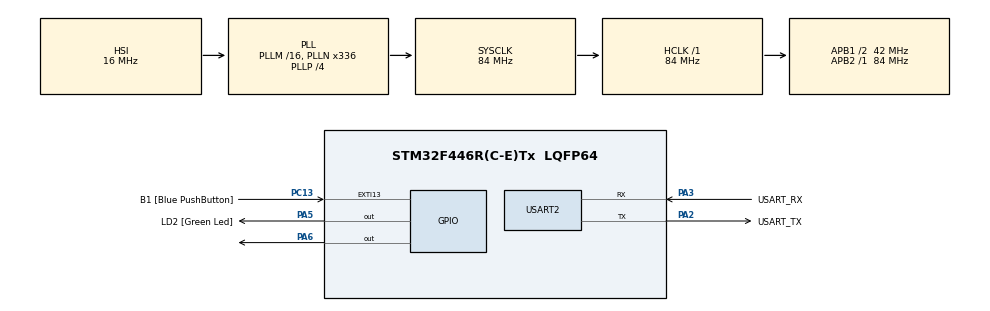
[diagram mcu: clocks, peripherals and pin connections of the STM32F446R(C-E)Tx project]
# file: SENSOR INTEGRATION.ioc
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FREERTOS.Tasks01=defaultTask,24,128,StartDefaultTask,Default,NULL,Dynamic,NULL,NULL;SensorTask,8,128,Sensor_Task,Default,NULL,Dynamic,NULL,NULL;UARTTask,8,128,UARTTask_init,Default,NULL,Dynamic,NULL,NULL;LEDTask,8,128,LEDTask_init,Default,NULL,Dynamic,NULL,NULL
Mcu.Family=STM32F4
Mcu.Name=STM32F446R(C-E)Tx
Mcu.Package=LQFP64
NVIC.PriorityGroup=NVIC_PRIORITYGROUP_4
NVIC.TIM2_IRQn=true\:15\:0\:false\:false\:true\:false\:false\:true\:true
NVIC.TimeBase=TIM2_IRQn
NVIC.TimeBaseIP=TIM2
NVIC.USART2_IRQn=true\:5\:0\:false\:false\:true\:true\:true\:true\:true
PA13.GPIO_Label=TMS
PA13.Signal=SYS_JTMS-SWDIO
PA14.GPIO_Label=TCK
PA14.Signal=SYS_JTCK-SWCLK
PA2.GPIO_Label=USART_TX
PA2.Mode=Asynchronous
PA2.Signal=USART2_TX
PA3.GPIO_Label=USART_RX
PA3.Mode=Asynchronous
PA3.Signal=USART2_RX
PA5.GPIO_Label=LD2 [Green Led]
PA5.Signal=GPIO_Output
PA6.Signal=GPIO_Output
PB3.GPIO_Label=SWO
PB3.Signal=SYS_JTDO-SWO
PC13.GPIO_Label=B1 [Blue PushButton]
PC13.GPIO_ModeDefaultEXTI=GPIO_MODE_IT_FALLING
PC13.Signal=GPXTI13
PC14-OSC32_IN.Mode=LSE-External-Oscillator
PC14-OSC32_IN.Signal=RCC_OSC32_IN
PC15-OSC32_OUT.Mode=LSE-External-Oscillator
PC15-OSC32_OUT.Signal=RCC_OSC32_OUT
PH0-OSC_IN.Mode=HSE-External-Oscillator
PH0-OSC_IN.Signal=RCC_OSC_IN
PH1-OSC_OUT.Mode=HSE-External-Oscillator
PH1-OSC_OUT.Signal=RCC_OSC_OUT
ProjectManager.HeapSize=0x200
ProjectManager.StackSize=0x400
ProjectManager.TargetToolchain=STM32CubeIDE
RCC.48MHZClocksFreq_Value=84000000
RCC.AHBFreq_Value=84000000
RCC.APB1CLKDivider=RCC_HCLK_DIV2
RCC.APB1Freq_Value=42000000
RCC.APB1TimFreq_Value=84000000
RCC.APB2Freq_Value=84000000
RCC.APB2TimFreq_Value=84000000
RCC.CortexFreq_Value=84000000
RCC.FLatency-AdvancedSettings=FLASH_LATENCY_2
RCC.HCLKFreq_Value=84000000
RCC.HSE_VALUE=8000000
RCC.HSI_VALUE=16000000
RCC.PLLN=336
RCC.PLLP=RCC_PLLP_DIV4
RCC.SYSCLKFreq_VALUE=84000000
RCC.SYSCLKSource=RCC_SYSCLKSOURCE_PLLCLK
RCC.USBFreq_Value=168000000
RCC.VCOOutputFreq_Value=336000000
USART2.VirtualMode=VM_ASYNC
VP_FREERTOS_VS_CMSIS_V2.Mode=CMSIS_V2
VP_SYS_VS_tim2.Mode=TIM2
board=NUCLEO-F446RE

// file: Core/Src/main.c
/* USER CODE BEGIN Header */
/**
  ******************************************************************************
  * @file           : main.c
  * @brief          : Main program body
  ******************************************************************************
  * @attention
  *
  * Copyright (c) 2024 STMicroelectronics.
  * All rights reserved.
  *
  * This software is licensed under terms that can be found in the LICENSE file
  * in the root directory of this software component.
  * If no LICENSE file comes with this software, it is provided AS-IS.
  *
  ******************************************************************************
  */
/* USER CODE END Header */
#include "main.h"
#include "cmsis_os.h"
#include "cmsis_os2.h"

UART_HandleTypeDef huart2;

/* Definitions for defaultTask */
osThreadId_t defaultTaskHandle;
const osThreadAttr_t defaultTask_attributes = {
  .name = "defaultTask",
  .stack_size = 128 * 4,
  .priority = (osPriority_t) osPriorityNormal,
};
/* Definitions for SensorTask */
osThreadId_t SensorTaskHandle;
const osThreadAttr_t SensorTask_attributes = {
  .name = "SensorTask",
  .stack_size = 128 * 4,
  .priority = (osPriority_t) osPriorityNormal,
};
/* Definitions for UARTTask */
osThreadId_t UARTTaskHandle;
const osThreadAttr_t UARTTask_attributes = {
  .name = "UARTTask",
  .stack_size = 128 * 4,
  .priority = (osPriority_t) osPriorityNormal,
};
/* Definitions for LEDTask */
osThreadId_t LEDTaskHandle;
const osThreadAttr_t LEDTask_attributes = {
  .name = "LEDTask",
  .stack_size = 128 * 4,
  .priority = (osPriority_t) osPriorityLow,
};

void SystemClock_Config(void);
static void MX_GPIO_Init(void);
static void MX_USART2_UART_Init(void);
void StartDefaultTask(void *argument);
void Sensor_Task(void *argument);
void UARTTask_init(void *argument);
void LEDTask_init(void *argument);

/* USER CODE BEGIN 0 */
void i2c(uint8_t a,uint8_t *p){
	uint8_t n[2] = {0x6b,0};
	uint8_t m[2] = {0x1c,0};
	uint8_t u = 0x3b;
	init3(0x68);
	write(a,n,2);
	write(a,m,2);
	write(a,u,1);
	read(a,p, 6);

}
int data(uint8_t *c,uint8_t *m){

	 i2c(0x68,c);
	 m[0] =  c[0]<<8|c[1];
	 m[1] =  c[2]<<8|c[3];
	 m[2] =  c[4]<<8|c[5];

	// return m;
}
uint8_t c[6];
uint8_t s[5];
uint8_t m[6];
uint8_t currentstate;
char u[50];
osSemaphoreId mutex3;

/* USER CODE END 0 */

int main(void)
{

  /* MCU Configuration--------------------------------------------------------*/

  /* Reset of all peripherals, Initializes the Flash interface and the Systick. */
  HAL_Init();

  /* Configure the system clock */
  SystemClock_Config();

  /* Initialize all configured peripherals */
  MX_GPIO_Init();
  MX_USART2_UART_Init();

  /* Init scheduler */
  osKernelInitialize();

  /* USER CODE BEGIN RTOS_SEMAPHORES */

  // osSemaphoreDef(mutex_3);
  // mutex3 = osSemaphoreCreate(osSemaphore(mutex_3), 1);
  mutex3 = osSemaphoreNew(1, 1, NULL);
  if (mutex3 == NULL) {
         currentstate = 0;
     }
  /* USER CODE END RTOS_SEMAPHORES */

  /* Create the thread(s) */
  /* creation of defaultTask */
 // defaultTaskHandle = osThreadNew(StartDefaultTask, NULL, &defaultTask_attributes);

  /* creation of SensorTask */
  SensorTaskHandle = osThreadNew(Sensor_Task, NULL, &SensorTask_attributes);

  /* creation of UARTTask */
  UARTTaskHandle = osThreadNew(UARTTask_init, NULL, &UARTTask_attributes);

  /* creation of LEDTask */
  LEDTaskHandle = osThreadNew(LEDTask_init, NULL, &LEDTask_attributes);

  /* Start scheduler */
  osKernelStart();

  /* We should never get here as control is now taken by the scheduler */
  /* Infinite loop */
  while (1)
  {

  }
}

void SystemClock_Config(void)
{
  RCC_OscInitTypeDef RCC_OscInitStruct = {0};
  RCC_ClkInitTypeDef RCC_ClkInitStruct = {0};

  /** Configure the main internal regulator output voltage
  */
  __HAL_RCC_PWR_CLK_ENABLE();
  __HAL_PWR_VOLTAGESCALING_CONFIG(PWR_REGULATOR_VOLTAGE_SCALE3);

  /** Initializes the RCC Oscillators according to the specified parameters
  * in the RCC_OscInitTypeDef structure.
  */
  RCC_OscInitStruct.OscillatorType = RCC_OSCILLATORTYPE_HSI;
  RCC_OscInitStruct.HSIState = RCC_HSI_ON;
  RCC_OscInitStruct.HSICalibrationValue = RCC_HSICALIBRATION_DEFAULT;
  RCC_OscInitStruct.PLL.PLLState = RCC_PLL_ON;
  RCC_OscInitStruct.PLL.PLLSource = RCC_PLLSOURCE_HSI;
  RCC_OscInitStruct.PLL.PLLM = 16;
  RCC_OscInitStruct.PLL.PLLN = 336;
  RCC_OscInitStruct.PLL.PLLP = RCC_PLLP_DIV4;
  RCC_OscInitStruct.PLL.PLLQ = 2;
  RCC_OscInitStruct.PLL.PLLR = 2;
  if (HAL_RCC_OscConfig(&RCC_OscInitStruct) != HAL_OK)
  {
    Error_Handler();
  }

  /** Initializes the CPU, AHB and APB buses clocks
  */
  RCC_ClkInitStruct.ClockType = RCC_CLOCKTYPE_HCLK|RCC_CLOCKTYPE_SYSCLK
                              |RCC_CLOCKTYPE_PCLK1|RCC_CLOCKTYPE_PCLK2;
  RCC_ClkInitStruct.SYSCLKSource = RCC_SYSCLKSOURCE_PLLCLK;
  RCC_ClkInitStruct.AHBCLKDivider = RCC_SYSCLK_DIV1;
  RCC_ClkInitStruct.APB1CLKDivider = RCC_HCLK_DIV2;
  RCC_ClkInitStruct.APB2CLKDivider = RCC_HCLK_DIV1;

  if (HAL_RCC_ClockConfig(&RCC_ClkInitStruct, FLASH_LATENCY_2) != HAL_OK)
  {
    Error_Handler();
  }
}

static void MX_USART2_UART_Init(void)
{

  huart2.Instance = USART2;
  huart2.Init.BaudRate = 9600;
  huart2.Init.WordLength = UART_WORDLENGTH_8B;
  huart2.Init.StopBits = UART_STOPBITS_1;
  huart2.Init.Parity = UART_PARITY_NONE;
  huart2.Init.Mode = UART_MODE_TX_RX;
  huart2.Init.HwFlowCtl = UART_HWCONTROL_NONE;
  huart2.Init.OverSampling = UART_OVERSAMPLING_16;
  if (HAL_UART_Init(&huart2) != HAL_OK)
  {
    Error_Handler();
  }

}

static void MX_GPIO_Init(void)
{
  GPIO_InitTypeDef GPIO_InitStruct = {0};

  /* GPIO Ports Clock Enable */
  __HAL_RCC_GPIOC_CLK_ENABLE();
  __HAL_RCC_GPIOH_CLK_ENABLE();
  __HAL_RCC_GPIOA_CLK_ENABLE();
  __HAL_RCC_GPIOB_CLK_ENABLE();

  /*Configure GPIO pin Output Level */
  HAL_GPIO_WritePin(GPIOA, LD2_Pin|GPIO_PIN_6, GPIO_PIN_RESET);

  /*Configure GPIO pin : B1_Pin */
  GPIO_InitStruct.Pin = B1_Pin;
  GPIO_InitStruct.Mode = GPIO_MODE_IT_FALLING;
  GPIO_InitStruct.Pull = GPIO_NOPULL;
  HAL_GPIO_Init(B1_GPIO_Port, &GPIO_InitStruct);

  /*Configure GPIO pins : LD2_Pin PA6 */
  GPIO_InitStruct.Pin = LD2_Pin|GPIO_PIN_6;
  GPIO_InitStruct.Mode = GPIO_MODE_OUTPUT_PP;
  GPIO_InitStruct.Pull = GPIO_NOPULL;
  GPIO_InitStruct.Speed = GPIO_SPEED_FREQ_LOW;
  HAL_GPIO_Init(GPIOA, &GPIO_InitStruct);

}

/* USER CODE BEGIN 4 */
/*
void HAL_UART_RxCpltCallback(UART_HandleTypeDef *huart)
{
	char *msg;
	char u[50];
	int flag;
	if(!strcmp(s,"START")){
		for(int i=0;i<10;i++){
		  data(c, m);
		  sprintf(u,"%d",m[0]);
	  HAL_UART_Transmit(huart, u, strlen(u),10);
		}
	  flag = 1;
	}

	else if (!strcmp(s,"STOP1")){
		msg = "i2c released ";
		  sprintf(msg,"%s",msg);
		HAL_UART_Transmit(huart, msg, strlen(msg),10);
		flag = 0;
	}
	else if (!strcmp(s,"STATU")){
		if(flag == 1){
			msg = "Running";
			  sprintf(msg,"%s",msg);
					HAL_UART_Transmit(huart, msg, strlen(msg),10);
		}
		else
			msg = "idel";
					HAL_UART_Transmit(huart, msg, strlen(msg),10);

	}
}
  /* NOTE: This function should not be modified, when the callback is needed,
   *
  /* Prevent unused argument(s) compilation warning */

          // the HAL_UART_RxCpltCallback could be implemented in the user file
  // */

/* USER CODE END 4 */

void Sensor_Task(void *argument)
{
  /* USER CODE BEGIN Sensor_Task */
  /* Infinite loop */
	while(1)
	  {

		 osSemaphoreAcquire(mutex3, osWaitForever);

		data(c, m);

	        osSemaphoreRelease(mutex3);
	        osDelay(1);
	        currentstate =1 ;

  }
  /* USER CODE END Sensor_Task */
}

void UARTTask_init(void *argument)
{
  /* USER CODE BEGIN UARTTask_init */
  /* Infinite loop */
  while(1){

	              osSemaphoreAcquire(mutex3, osWaitForever);
	              sprintf(u, "%d\r\n", m[0]);
	              HAL_UART_Transmit(&huart2, (uint8_t *)u, strlen(u), 10);
	              osSemaphoreRelease(mutex3);
	              currentstate = 1;
	              osDelay(1);

	      }
}
  /* USER CODE END UARTTask_init */

void LEDTask_init(void *argument)
{
  /* USER CODE BEGIN LEDTask_init */
  /* Infinite loop */
  while(1)
  {
	  char u1[50];
	  sprintf(u1, "%d\r\n", currentstate);
	HAL_UART_Transmit(&huart2, (uint8_t *)u1, strlen(u1), 10);
    osDelay(1);
  }
  /* USER CODE END LEDTask_init */
}

void HAL_TIM_PeriodElapsedCallback(TIM_HandleTypeDef *htim)
{
  if (htim->Instance == TIM2) {
    HAL_IncTick();
  }
}

void Error_Handler(void)
{
  __disable_irq();
  while (1)
  {
  }
}
